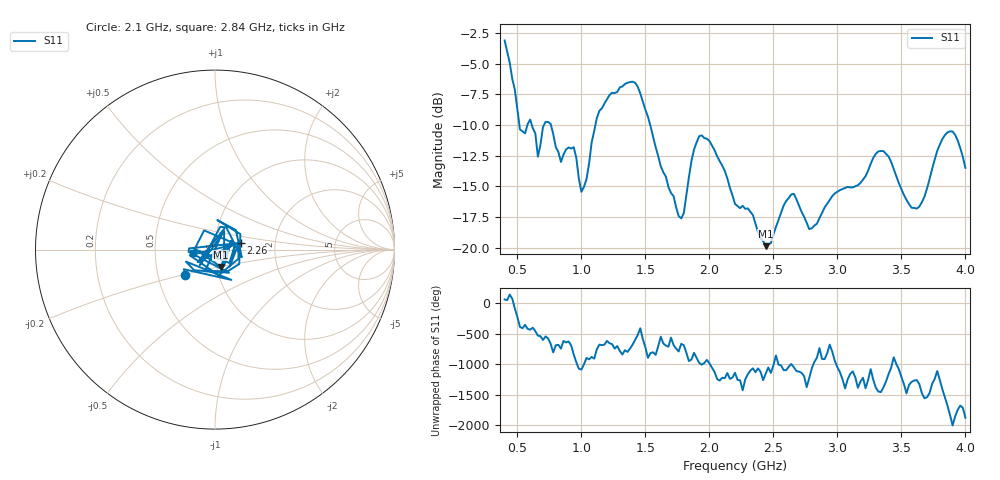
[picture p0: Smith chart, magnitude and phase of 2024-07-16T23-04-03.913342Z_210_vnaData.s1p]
!Created with skrf (http://scikit-rf.org).
# Hz S RI R 50.0
!freq ReS11 ImS11
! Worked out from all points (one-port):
!   181 points, 400 MHz to 4 GHz, reference 50 ohm
!   lowest |S11| = -19.9 dB at 2.44 GHz (marker M1), VSWR 1.23, Z = 52.3 - j10.2 ohm
!   |S11| at or under -10 dB: 612.6 MHz to 707.8 MHz (95.2 MHz wide, 14.4 % of centre); 761.8 MHz to 1.11 GHz (347.7 MHz wide, 37.2 % of centre); 1.537 GHz to end of sweep (the widest 3 of 4)
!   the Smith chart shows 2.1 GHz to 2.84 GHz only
!   S11 on the Smith chart (normalised r, x): 2.1 GHz: 0.69, -0.20; 2.26 GHz: 1.33, +0.10; 2.84 GHz: 0.78, -0.03
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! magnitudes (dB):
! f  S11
! 400 MHz  -3.1
! 520 MHz  -10.4
! 600 MHz  -9.6
! 660 MHz  -12.6
! 740 MHz  -9.8
! 860 MHz  -12.4
! 940 MHz  -11.8
! 1 GHz  -15.4
! 1.14 GHz  -8.9
! 1.3 GHz  -6.9
! 1.44 GHz  -6.9
! 1.76 GHz  -17.4
! 1.8 GHz  -17.2
! 1.86 GHz  -12.9
! 1.92 GHz  -10.9
! 2.1 GHz  -13.3
! 2.2 GHz  -16.4
! 2.26 GHz  -16.6
! 2.44 GHz  -19.9
! 2.66 GHz  -15.6
! 2.78 GHz  -18.5
! 2.84 GHz  -18.0
! 3.1 GHz  -15.1
! 3.36 GHz  -12.1
! 3.56 GHz  -16.5
! 3.66 GHz  -16.3
! 3.86 GHz  -10.6
! 4 GHz  -13.5
